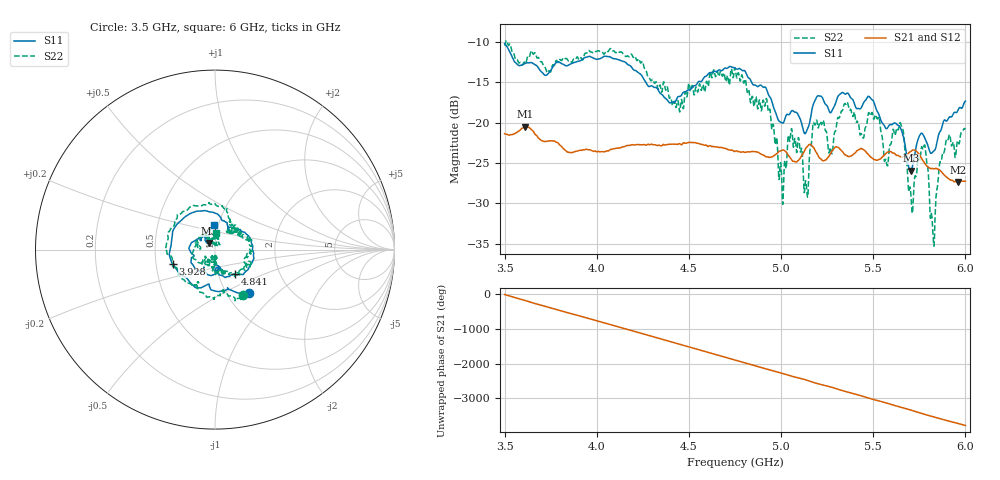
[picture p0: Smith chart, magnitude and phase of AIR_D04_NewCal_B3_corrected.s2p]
! Created with skrf 1.9.0 (http://scikit-rf.org).
# Hz S RI R 50.0
!freq ReS11 ImS11 ReS21 ImS21 ReS12 ImS12 ReS22 ImS22
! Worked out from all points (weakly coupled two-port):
!   1601 points, 3.5 GHz to 6 GHz, reference 50 ohm
!   highest |S21| = -20.52 dB at 3.612 GHz (marker M1); lowest = -27.3 dB at 5.959 GHz (marker M2)
!   lowest |S11| = -25.9 dB at 5.703 GHz (marker M3), VSWR 1.11, Z = 46.5 + j3.41 ohm
!   |S11| at or under -10 dB: start of sweep to end of sweep
!   |S22| runs from -35.3 to -9.9 dB; largest |S21 - S12| = 0.0011
!   S11 on the Smith chart (normalised r, x): 3.5 GHz: 1.27, -0.68; 3.928 GHz: 0.61, -0.11; 4.841 GHz: 1.20, -0.34; 6 GHz: 0.95, +0.26
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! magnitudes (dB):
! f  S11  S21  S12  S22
! 3.5 GHz  -10.3  -21.4  -21.3  -10.5
! 3.612 GHz  -12.7  -20.5  -20.5  -12.7
! 3.917 GHz  -12.3  -23.4  -23.4  -12.1
! 3.928 GHz  -12.1  -23.4  -23.3  -12.0
! 4.334 GHz  -16.1  -22.8  -22.7  -15.9
! 4.75 GHz  -13.3  -23.6  -23.5  -13.2
! 4.841 GHz  -15.1  -23.6  -23.5  -17.0
! 4.93 GHz  -16.5  -24.3  -24.2  -18.5
! 5.002 GHz  -20.0  -23.5  -23.4  -26.0
! 5.05 GHz  -18.8  -24.3  -24.3  -21.9
! 5.136 GHz  -21.2  -23.1  -23.0  -27.4
! 5.167 GHz  -18.4  -22.9  -22.8  -22.0
! 5.269 GHz  -18.8  -23.8  -23.8  -23.2
! 5.353 GHz  -16.4  -24.1  -24.0  -17.7
! 5.584 GHz  -20.4  -23.6  -23.6  -23.9
! 5.653 GHz  -21.0  -24.2  -24.2  -20.5
! 5.703 GHz  -25.9  -23.6  -23.5  -28.6
! 5.773 GHz  -21.6  -24.8  -24.7  -23.0
! 5.823 GHz  -23.6  -25.7  -25.6  -33.6
! 5.886 GHz  -19.7  -26.5  -26.4  -23.5
! 5.959 GHz  -18.5  -27.3  -27.2  -22.2
! 6 GHz  -17.4  -27.2  -27.2  -20.7
